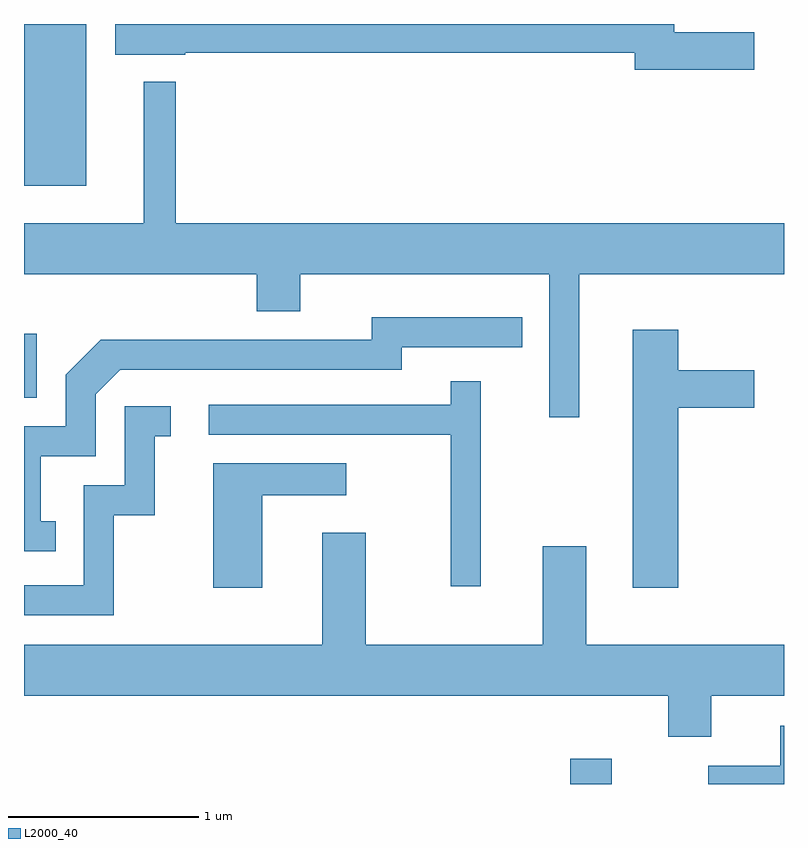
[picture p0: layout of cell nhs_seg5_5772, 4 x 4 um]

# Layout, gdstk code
import gdstk
lib = gdstk.Library(unit=1e-6, precision=1e-09)
def R(c, l, rs):  # rectangles x0, y0, x1, y1
    for r in rs: c.add(gdstk.rectangle(r[:2], r[2:], *l))
def P(c, l, *ps):  # polygons
    for p in ps: c.add(gdstk.Polygon(p, *l))
L2000_40 = (2000, 40)

nhs_seg5_5772 = lib.new_cell('nhs_seg5_5772')
R(nhs_seg5_5772, L2000_40, [(358.486,1494.072,358.704,1494.204), (355.611,1496.106,355.679,1496.443), (355.611,1497.221,355.939,1498.072)])
P(nhs_seg5_5772, L2000_40, [(359.454,1498.029),(359.034,1498.029),(359.034,1498.072),(356.091,1498.072),(356.091,1497.911),(356.46,1497.911),(356.46,1497.921),(358.826,1497.921),(358.826,1497.831),(359.454,1497.831)],
  [(358.534,1496.756),(359.611,1496.756),(359.611,1497.024),(356.409,1497.024),(356.409,1497.768),(356.241,1497.768),(356.241,1497.024),(355.611,1497.024),(355.611,1496.756),(356.836,1496.756),(356.836,1496.561),(357.064,1496.561),(357.064,1496.756),(358.376,1496.756),(358.376,1496.003),(358.534,1496.003)],
  [(355.778,1495.454),(355.699,1495.454),(355.699,1495.796),(355.989,1495.796),(355.989,1496.124),(356.117,1496.251),(357.599,1496.251),(357.599,1496.371),(358.233,1496.371),(358.233,1496.529),(357.441,1496.529),(357.441,1496.409),(356.014,1496.409),(355.831,1496.227),(355.831,1495.954),(355.611,1495.954),(355.611,1495.296),(355.778,1495.296)],
  [(359.054,1496.051),(359.454,1496.051),(359.454,1496.249),(359.054,1496.249),(359.054,1496.464),(358.816,1496.464),(358.816,1495.106),(359.054,1495.106)],
  [(358.014,1496.193),(357.856,1496.193),(357.856,1496.069),(356.583,1496.069),(356.583,1495.911),(357.856,1495.911),(357.856,1495.113),(358.014,1495.113)],
  [(356.084,1495.486),(356.299,1495.486),(356.299,1495.901),(356.383,1495.901),(356.383,1496.059),(356.141,1496.059),(356.141,1495.644),(355.926,1495.644),(355.926,1495.119),(355.611,1495.119),(355.611,1494.961),(356.084,1494.961)],
  [(356.864,1495.591),(357.308,1495.591),(357.308,1495.759),(356.606,1495.759),(356.606,1495.106),(356.864,1495.106)],
  [(359.229,1494.536),(359.611,1494.536),(359.611,1494.804),(358.569,1494.804),(358.569,1495.324),(358.341,1495.324),(358.341,1494.804),(357.409,1494.804),(357.409,1495.394),(357.181,1495.394),(357.181,1494.804),(355.611,1494.804),(355.611,1494.536),(359.001,1494.536),(359.001,1494.321),(359.229,1494.321)],
  [(359.611,1494.379),(359.591,1494.379),(359.591,1494.169),(359.211,1494.169),(359.211,1494.072),(359.611,1494.072)])

lib.write_gds('nhs_seg5_5772.gds')
